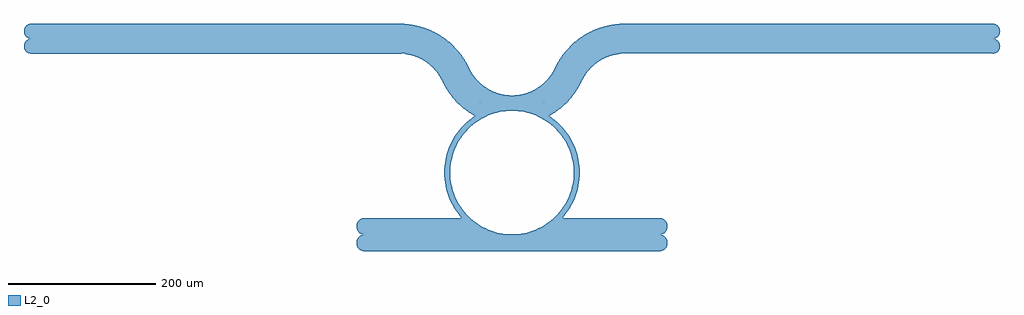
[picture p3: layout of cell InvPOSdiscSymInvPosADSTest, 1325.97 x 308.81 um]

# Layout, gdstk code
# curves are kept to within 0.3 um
import gdstk
lib = gdstk.Library(unit=1e-6, precision=1e-09)
def P(c, l, *ps):  # polygons
    for p in ps: c.add(gdstk.Polygon(p, *l))
L2_0 = (2, 0)

invposdiscsyminvposadste = lib.new_cell('InvPOSdiscSymInvPosADSTest')
P(invposdiscsyminvposadste, L2_0, [(-100,93.25),(-104.36,94.13),(-107.92,96.53),(-110.32,100.09),(-111.199,104.305),(-110.423,108.557),(-108.107,112.177),(-104.609,114.661),(-100.433,115.642),(300.289,115.646),(304.36,114.77),(307.92,112.37),(310.266,108.935),(311.192,104.883),(310.473,100.471),(308.199,96.82),(304.609,94.239),(300.433,93.258)],
  [(300,115.75),(-100,115.75),(-103.462,116.295),(-106.593,117.895),(-108.975,120.249),(-110.52,123.099),(-111.185,126.374),(-110.881,129.615),(-109.579,132.758),(-107.531,135.24),(-104.856,137.046),(-101.706,138.021),(31.896,138.15),(26.105,145.196),(21.089,152.703),(15.003,164.793),(11.961,173.294),(9.768,182.052),(8.443,190.982),(8,200),(8.996,213.499),(11.961,226.706),(15.003,235.207),(18.863,243.368),(23.505,251.112),(28.883,258.364),(34.946,265.054),(41.636,271.117),(49.767,277.052),(42.244,281.591),(34.751,287.046),(27.771,293.142),(21.358,299.832),(16.112,306.318),(11.4,313.201),(0.151,333.493),(-3.608,338.494),(-8.243,343.504),(-13.833,348.342),(-19.942,352.506),(-27.008,356.172),(-33.93,358.769),(-43.348,360.935),(-52.416,361.66),(-552.985,361.662),(-552.985,381.662),(-52.985,381.662),(-40.346,380.708),(-28.708,378.086),(-17.556,373.846),(-6.493,367.663),(2.962,360.387),(9.826,353.538),(16.283,345.333),(20.614,338.363),(27.555,325.109),(33.986,315.892),(42.675,306.582),(52.044,299.105),(63.049,292.696),(74.891,288.012),(87.301,285.158),(100,284.2),(112.699,285.158),(125.109,288.012),(136.951,292.696),(147.956,299.105),(157.325,306.582),(166.014,315.892),(172.445,325.109),(179.386,338.363),(183.717,345.333),(190.174,353.538),(197.038,360.387),(206.493,367.663),(217.556,373.846),(228.708,378.086),(240.346,380.708),(252.985,381.662),(752.985,381.662),(752.985,361.662),(252.416,361.66),(242.786,360.847),(233.387,358.598),(226.489,355.939),(219.942,352.506),(213.833,348.342),(208.243,343.504),(203.608,338.494),(199.849,333.493),(188.6,313.201),(183.888,306.318),(178.642,299.832),(172.229,293.142),(165.249,287.046),(157.756,281.591),(150.233,277.052),(158.364,271.117),(168.168,261.783),(173.895,254.804),(181.137,243.368),(184.997,235.207),(189.243,222.354),(191.557,209.018),(192,200),(184,200),(183.091,212.325),(181.483,220.41),(179.09,228.299),(174.081,239.597),(167.469,250.039),(162.24,256.411),(153.289,264.933),(146.668,269.843),(139.597,274.081),(128.299,279.09),(120.41,281.483),(108.233,283.596),(95.878,283.899),(83.612,282.386),(75.616,280.383),(64.085,275.935),(56.815,272.049),(46.711,264.933),(40.603,259.397),(35.067,253.289),(27.951,243.185),(24.065,235.915),(19.617,224.384),(17.614,216.388),(16.101,204.122),(16.404,191.767),(17.614,183.612),(20.91,171.701),(24.065,164.085),(30.157,153.332),(37.76,143.589),(46.711,135.067),(53.332,130.157),(64.085,124.065),(71.701,120.91),(83.612,117.614),(95.878,116.101),(108.233,116.404),(120.41,118.517),(128.299,120.91),(139.597,125.919),(146.668,130.157),(153.289,135.067),(162.24,143.589),(167.469,149.961),(174.081,160.403),(179.09,171.701),(181.483,179.59),(183.091,187.675),(184,200),(192,200),(191.557,190.982),(190.232,182.052),(188.039,173.294),(184.997,164.793),(181.137,156.632),(176.495,148.888),(168.104,138.15),(301.844,137.999),(305.808,136.529),(308.894,133.758),(310.737,130.149),(311.156,125.946),(310.036,121.972),(307.531,118.66),(303.979,116.477)],
  [(100,284.6),(87.361,285.554),(75.009,288.394),(63.223,293.056),(51.658,299.86),(42.4,307.385),(33.834,316.726),(27.515,325.957),(20.963,338.558),(16.612,345.56),(10.621,353.243),(3.786,360.185),(-5.648,367.579),(-16.033,373.566),(-26.447,377.792),(-38.067,380.736),(-45.496,381.73),(-52.985,382.062),(-552.985,382.062),(-552.985,402.062),(-52.985,402.062),(-37.284,400.877),(-22.826,397.62),(-9.816,392.738),(3.217,385.681),(14.415,377.453),(23.164,369.174),(31.454,359.198),(37.53,349.885),(45.024,335.645),(49.904,328.65),(56.081,321.973),(63.141,316.236),(71.448,311.298),(80.403,307.664),(90.363,305.327),(100,304.6),(109.637,305.327),(119.597,307.664),(128.552,311.298),(136.859,316.236),(143.919,321.973),(150.096,328.65),(154.976,335.645),(162.47,349.885),(168.546,359.198),(176.836,369.174),(185.585,377.453),(196.783,385.681),(209.816,392.738),(222.826,397.62),(237.284,400.877),(252.985,402.062),(752.985,402.062),(752.985,382.062),(252.985,382.062),(245.496,381.73),(238.067,380.736),(226.447,377.792),(216.033,373.566),(205.648,367.579),(196.214,360.185),(189.379,353.243),(183.388,345.56),(179.037,338.558),(172.485,325.957),(166.166,316.726),(157.6,307.385),(148.342,299.86),(136.777,293.056),(124.991,288.394),(112.639,285.554)],
  [(-552.985,361.662),(-556.877,362.448),(-560.056,364.591),(-562.199,367.77),(-562.985,371.662),(-562.199,375.554),(-560.056,378.733),(-556.877,380.876),(-552.985,381.662)],
  [(752.985,361.662),(752.985,381.662),(756.877,380.876),(760.056,378.733),(762.199,375.554),(762.985,371.662),(762.199,367.77),(760.056,364.591),(756.877,362.448)],
  [(-552.985,382.062),(-556.877,382.848),(-560.056,384.991),(-562.199,388.17),(-562.985,392.062),(-562.199,395.954),(-560.056,399.133),(-556.877,401.276),(-552.985,402.062)],
  [(752.985,382.062),(752.985,402.062),(756.877,401.276),(760.056,399.133),(762.199,395.954),(762.985,392.062),(762.199,388.17),(760.056,384.991),(756.877,382.848)])

lib.write_gds('InvPOSdiscSymInvPosADSTest.gds')
